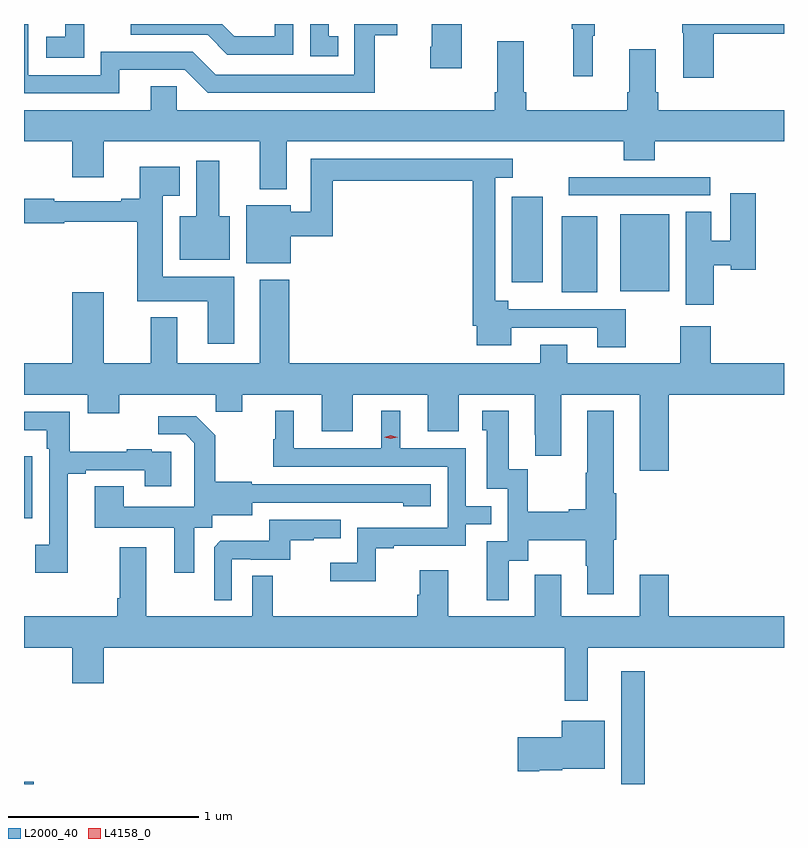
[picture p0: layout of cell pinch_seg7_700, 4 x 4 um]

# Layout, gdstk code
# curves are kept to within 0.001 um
import gdstk
lib = gdstk.Library(unit=1e-6, precision=1e-09)
def R(c, l, rs):  # rectangles x0, y0, x1, y1
    for r in rs: c.add(gdstk.rectangle(r[:2], r[2:], *l))
def P(c, l, *ps):  # polygons
    for p in ps: c.add(gdstk.Polygon(p, *l))
L2000_40 = (2000, 40)
L4158_0 = (4158, 0)

pinch_seg7_700 = lib.new_cell('pinch_seg7_700')
R(pinch_seg7_700, L2000_40, [(332.585,1031.866,332.635,1031.878), (335.729,1031.866,335.851,1032.46), (332.585,1033.266,332.628,1033.591), (335.414,1034.453,335.602,1034.854), (335.723,1034.459,335.98,1034.866), (335.153,1034.507,335.314,1034.956), (335.451,1034.964,336.196,1035.06)])
P(pinch_seg7_700, L2000_40, [(334.888,1035.866),(334.73,1035.866),(334.73,1035.745),(334.723,1035.745),(334.723,1035.632),(334.888,1035.632)],
  [(334.238,1035.801),(334.189,1035.801),(334.189,1035.866),(334.092,1035.866),(334.092,1035.696),(334.238,1035.696)],
  [(332.901,1035.866),(332.801,1035.866),(332.801,1035.799),(332.703,1035.799),(332.703,1035.689),(332.901,1035.689)],
  [(334.002,1035.866),(333.906,1035.866),(333.906,1035.802),(333.692,1035.802),(333.628,1035.866),(333.148,1035.866),(333.148,1035.81),(333.551,1035.81),(333.656,1035.705),(334.002,1035.705)],
  [(336.215,1035.816),(336.585,1035.816),(336.585,1035.866),(336.049,1035.866),(336.049,1035.821),(336.056,1035.821),(336.056,1035.582),(336.215,1035.582)],
  [(333.085,1035.624),(333.432,1035.624),(333.552,1035.504),(334.432,1035.504),(334.432,1035.807),(334.55,1035.807),(334.55,1035.866),(334.323,1035.866),(334.323,1035.6),(333.594,1035.6),(333.474,1035.72),(332.988,1035.72),(332.988,1035.597),(332.607,1035.597),(332.607,1035.866),(332.585,1035.866),(332.585,1035.501),(333.085,1035.501)],
  [(335.579,1035.803),(335.59,1035.803),(335.59,1035.866),(335.469,1035.866),(335.469,1035.84),(335.476,1035.84),(335.476,1035.591),(335.579,1035.591)],
  [(333.967,1035.248),(335.741,1035.248),(335.741,1035.149),(335.906,1035.149),(335.906,1035.248),(336.585,1035.248),(336.585,1035.412),(335.924,1035.412),(335.924,1035.508),(335.911,1035.508),(335.911,1035.733),(335.771,1035.733),(335.771,1035.508),(335.759,1035.508),(335.759,1035.412),(335.228,1035.412),(335.228,1035.508),(335.215,1035.508),(335.215,1035.775),(335.075,1035.775),(335.075,1035.508),(335.063,1035.508),(335.063,1035.412),(333.39,1035.412),(333.39,1035.539),(333.251,1035.539),(333.251,1035.412),(332.585,1035.412),(332.585,1035.248),(332.84,1035.248),(332.84,1035.06),(333.004,1035.06),(333.004,1035.248),(333.827,1035.248),(333.827,1034.996),(333.967,1034.996)],
  [(335.751,1034.364),(335.134,1034.364),(335.134,1034.41),(335.064,1034.41),(335.064,1035.056),(335.158,1035.056),(335.158,1035.156),(334.095,1035.156),(334.095,1034.878),(333.988,1034.878),(333.988,1034.911),(333.755,1034.911),(333.755,1034.606),(333.988,1034.606),(333.988,1034.749),(334.211,1034.749),(334.211,1035.04),(334.948,1035.04),(334.948,1034.278),(334.967,1034.278),(334.967,1034.174),(335.149,1034.174),(335.149,1034.268),(335.603,1034.268),(335.603,1034.166),(335.751,1034.166)],
  [(333.667,1034.854),(333.613,1034.854),(333.613,1035.145),(333.491,1035.145),(333.491,1034.854),(333.404,1034.854),(333.404,1034.624),(333.667,1034.624)],
  [(333.691,1034.536),(333.316,1034.536),(333.316,1034.963),(333.406,1034.963),(333.406,1035.115),(333.194,1035.115),(333.194,1034.947),(333.098,1034.947),(333.098,1034.934),(332.744,1034.934),(332.744,1034.947),(332.585,1034.947),(332.585,1034.818),(332.798,1034.818),(332.798,1034.826),(333.182,1034.826),(333.182,1034.408),(333.551,1034.408),(333.551,1034.184),(333.691,1034.184)],
  [(336.215,1034.596),(336.306,1034.596),(336.306,1034.573),(336.437,1034.573),(336.437,1034.974),(336.302,1034.974),(336.302,1034.725),(336.202,1034.725),(336.202,1034.879),(336.068,1034.879),(336.068,1034.388),(336.215,1034.388)],
  [(335.978,1033.916),(336.585,1033.916),(336.585,1034.08),(336.2,1034.08),(336.2,1034.275),(336.04,1034.275),(336.04,1034.08),(335.443,1034.08),(335.443,1034.179),(335.303,1034.179),(335.303,1034.08),(333.98,1034.08),(333.98,1034.521),(333.827,1034.521),(333.827,1034.08),(333.391,1034.08),(333.391,1034.323),(333.251,1034.323),(333.251,1034.08),(333.004,1034.08),(333.004,1034.455),(332.84,1034.455),(332.84,1034.08),(332.585,1034.08),(332.585,1033.916),(332.921,1033.916),(332.921,1033.817),(333.085,1033.817),(333.085,1033.916),(333.595,1033.916),(333.595,1033.826),(333.733,1033.826),(333.733,1033.916),(334.151,1033.916),(334.151,1033.722),(334.315,1033.722),(334.315,1033.916),(334.709,1033.916),(334.709,1033.722),(334.873,1033.722),(334.873,1033.916),(335.273,1033.916),(335.273,1033.705),(335.276,1033.705),(335.276,1033.593),(335.413,1033.593),(335.413,1033.916),(335.825,1033.916),(335.825,1033.515),(335.978,1033.515)],
  [(335.137,1033.042),(335.239,1033.042),(335.239,1033.148),(335.542,1033.148),(335.542,1033.014),(335.549,1033.014),(335.549,1032.864),(335.689,1032.864),(335.689,1033.152),(335.702,1033.152),(335.702,1033.396),(335.689,1033.396),(335.689,1033.831),(335.549,1033.831),(335.549,1033.505),(335.542,1033.505),(335.542,1033.313),(335.453,1033.313),(335.453,1033.3),(335.235,1033.3),(335.235,1033.523),(335.137,1033.523),(335.137,1033.831),(334.997,1033.831),(334.997,1033.728),(335.021,1033.728),(335.021,1033.419),(335.13,1033.419),(335.13,1033.143),(335.021,1033.143),(335.021,1032.834),(335.137,1032.834)],
  [(334.437,1033.107),(334.531,1033.107),(334.531,1033.119),(334.911,1033.119),(334.911,1033.233),(335.045,1033.233),(335.045,1033.329),(334.911,1033.329),(334.911,1033.632),(334.564,1033.632),(334.564,1033.831),(334.466,1033.831),(334.466,1033.632),(334.006,1033.632),(334.006,1033.831),(333.908,1033.831),(333.908,1033.68),(333.897,1033.68),(333.897,1033.536),(334.815,1033.536),(334.815,1033.215),(334.338,1033.215),(334.338,1033.03),(334.197,1033.03),(334.197,1032.932),(334.437,1032.932)],
  [(332.815,1033.5),(332.911,1033.5),(332.911,1033.518),(333.221,1033.518),(333.221,1033.434),(333.361,1033.434),(333.361,1033.614),(333.257,1033.614),(333.257,1033.627),(333.125,1033.627),(333.125,1033.616),(332.827,1033.616),(332.827,1033.824),(332.585,1033.824),(332.585,1033.727),(332.706,1033.727),(332.706,1033.631),(332.718,1033.631),(332.718,1033.126),(332.643,1033.126),(332.643,1032.978),(332.815,1032.978)],
  [(333.481,1033.216),(333.576,1033.216),(333.576,1033.28),(333.787,1033.28),(333.787,1033.347),(334.581,1033.346),(334.581,1033.328),(334.726,1033.328),(334.726,1033.443),(333.783,1033.443),(333.783,1033.456),(333.591,1033.456),(333.591,1033.701),(333.491,1033.801),(333.291,1033.801),(333.291,1033.707),(333.435,1033.707),(333.482,1033.66),(333.482,1033.565),(333.48,1033.565),(333.48,1033.324),(333.109,1033.324),(333.109,1033.433),(332.957,1033.433),(332.957,1033.214),(333.377,1033.214),(333.377,1032.978),(333.481,1032.978)],
  [(333.678,1033.05),(333.778,1033.05),(333.778,1033.047),(333.986,1033.047),(333.986,1033.149),(334.109,1033.149),(334.109,1033.16),(334.253,1033.16),(334.253,1033.257),(333.876,1033.257),(333.876,1033.145),(333.617,1033.145),(333.585,1033.113),(333.585,1032.833),(333.678,1032.833)],
  [(335.551,1032.584),(336.585,1032.584),(336.585,1032.748),(335.978,1032.748),(335.978,1032.967),(335.825,1032.967),(335.825,1032.748),(335.413,1032.748),(335.413,1032.967),(335.273,1032.967),(335.273,1032.748),(334.819,1032.748),(334.819,1032.991),(334.667,1032.991),(334.667,1032.861),(334.655,1032.861),(334.655,1032.748),(333.895,1032.748),(333.895,1032.962),(333.786,1032.962),(333.786,1032.748),(333.229,1032.748),(333.229,1033.111),(333.089,1033.111),(333.089,1032.844),(333.077,1032.844),(333.077,1032.748),(332.585,1032.748),(332.585,1032.584),(332.84,1032.584),(332.84,1032.396),(333.004,1032.396),(333.004,1032.584),(335.43,1032.584),(335.43,1032.303),(335.551,1032.303)],
  [(335.296,1031.939),(335.418,1031.939),(335.418,1031.945),(335.641,1031.945),(335.641,1032.199),(335.414,1032.199),(335.414,1032.111),(335.184,1032.111),(335.184,1031.933),(335.296,1031.933)])
P(pinch_seg7_700, L4158_0, [(334.515,1033.682),(334.48,1033.692),(334.479,1033.692),(334.48,1033.692),(334.515,1033.702),(334.55,1033.692),(334.551,1033.692),(334.55,1033.692)])

lib.write_gds('pinch_seg7_700.gds')
